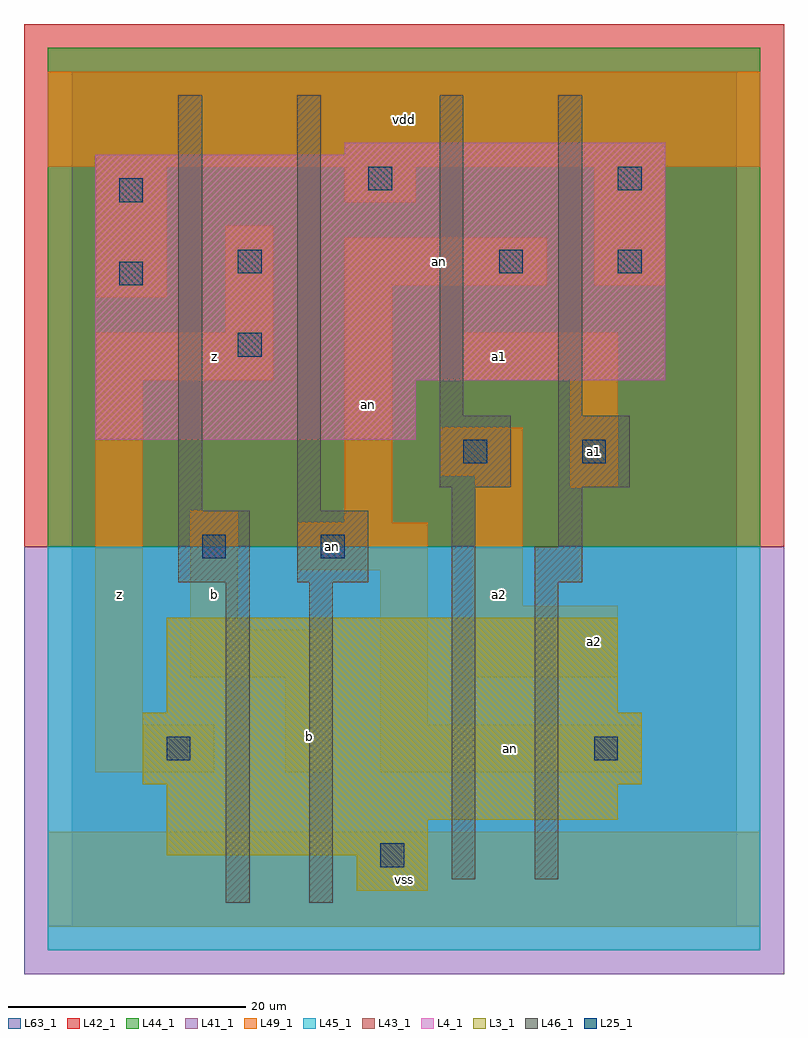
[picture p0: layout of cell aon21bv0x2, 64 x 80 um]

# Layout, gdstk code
import gdstk
lib = gdstk.Library(unit=1e-6, precision=1e-09)
def R(c, l, rs):  # rectangles x0, y0, x1, y1
    for r in rs: c.add(gdstk.rectangle(r[:2], r[2:], *l))
L3_1 = (3, 1)
L4_1 = (4, 1)
L25_1 = (25, 1)
L41_1 = (41, 1)
L42_1 = (42, 1)
L43_1 = (43, 1)
L44_1 = (44, 1)
L45_1 = (45, 1)
L46_1 = (46, 1)
L49_1 = (49, 1)
L63_1 = (63, 1)

aon21bv0x2 = lib.new_cell('aon21bv0x2')
R(aon21bv0x2, L3_1, [(24,3,30,6), (8,6,30,9), (8,9,46,12), (6,12,48,18), (8,18,46,26)])
R(aon21bv0x2, L4_1, [(2,41,29,46), (2,46,50,65), (23,65,50,66)])
R(aon21bv0x2, L25_1, [(26,5,28,7), (8,14,10,16), (44,14,46,16), (11,31,13,33), (21,31,23,33), (33,39,35,41), (43,39,45,41), (14,48,16,50), (4,54,6,56), (14,55,16,57), (36,55,38,57), (46,55,48,57), (4,61,6,63), (25,62,27,64), (46,62,48,64)])
R(aon21bv0x2, L41_1, [(-4,-4,60,32)])
R(aon21bv0x2, L42_1, [(-4,32,60,76)])
R(aon21bv0x2, L43_1, [(24,3,30,6), (8,6,30,9), (8,9,46,12), (6,12,48,18), (8,18,46,26), (2,41,29,46), (2,46,50,65), (23,65,50,66)])
R(aon21bv0x2, L44_1, [(-2,32,58,74)])
R(aon21bv0x2, L45_1, [(-2,-2,58,32)])
R(aon21bv0x2, L46_1, [(13,2,15,29), (20,2,22,29), (32,4,34,37), (39,4,41,29), (9,29,15,35), (19,29,25,35), (39,29,43,32), (41,32,43,37), (9,35,11,70), (19,35,21,70), (31,37,37,43), (41,37,47,43), (31,43,33,70), (41,43,43,70)])
R(aon21bv0x2, L49_1, [(-2,0,58,8), (2,13,12,17), (18,13,22,21), (26,13,48,17), (2,17,6,46), (26,17,30,30), (10,21,22,25), (34,21,46,27), (10,25,14,35), (34,27,38,38), (19,30,30,34), (23,34,27,54), (42,37,46,46), (31,38,38,42), (2,46,17,50), (33,46,46,50), (13,50,17,59), (2,53,8,64), (23,54,40,58), (44,54,50,64), (23,61,29,64), (-2,64,58,72)])
R(aon21bv0x2, L63_1, [(0,0,56,72)])
aon21bv0x2.add(gdstk.Label('an', (22,32), layer=49, texttype=1))
aon21bv0x2.add(gdstk.Label('z', (4,28), layer=49, texttype=1))
aon21bv0x2.add(gdstk.Label('b', (20,16), layer=49, texttype=1))
aon21bv0x2.add(gdstk.Label('b', (12,28), layer=49, texttype=1))
aon21bv0x2.add(gdstk.Label('z', (12,48), layer=49, texttype=1))
aon21bv0x2.add(gdstk.Label('an', (25,44), layer=49, texttype=1))
aon21bv0x2.add(gdstk.Label('vss', (28,4), layer=49, texttype=1))
aon21bv0x2.add(gdstk.Label('a2', (36,28), layer=49, texttype=1))
aon21bv0x2.add(gdstk.Label('a1', (36,48), layer=49, texttype=1))
aon21bv0x2.add(gdstk.Label('an', (31,56), layer=49, texttype=1))
aon21bv0x2.add(gdstk.Label('vdd', (28,68), layer=49, texttype=1))
aon21bv0x2.add(gdstk.Label('an', (37,15), layer=49, texttype=1))
aon21bv0x2.add(gdstk.Label('a2', (44,24), layer=49, texttype=1))
aon21bv0x2.add(gdstk.Label('a1', (44,40), layer=49, texttype=1))

lib.write_gds('aon21bv0x2.gds')
